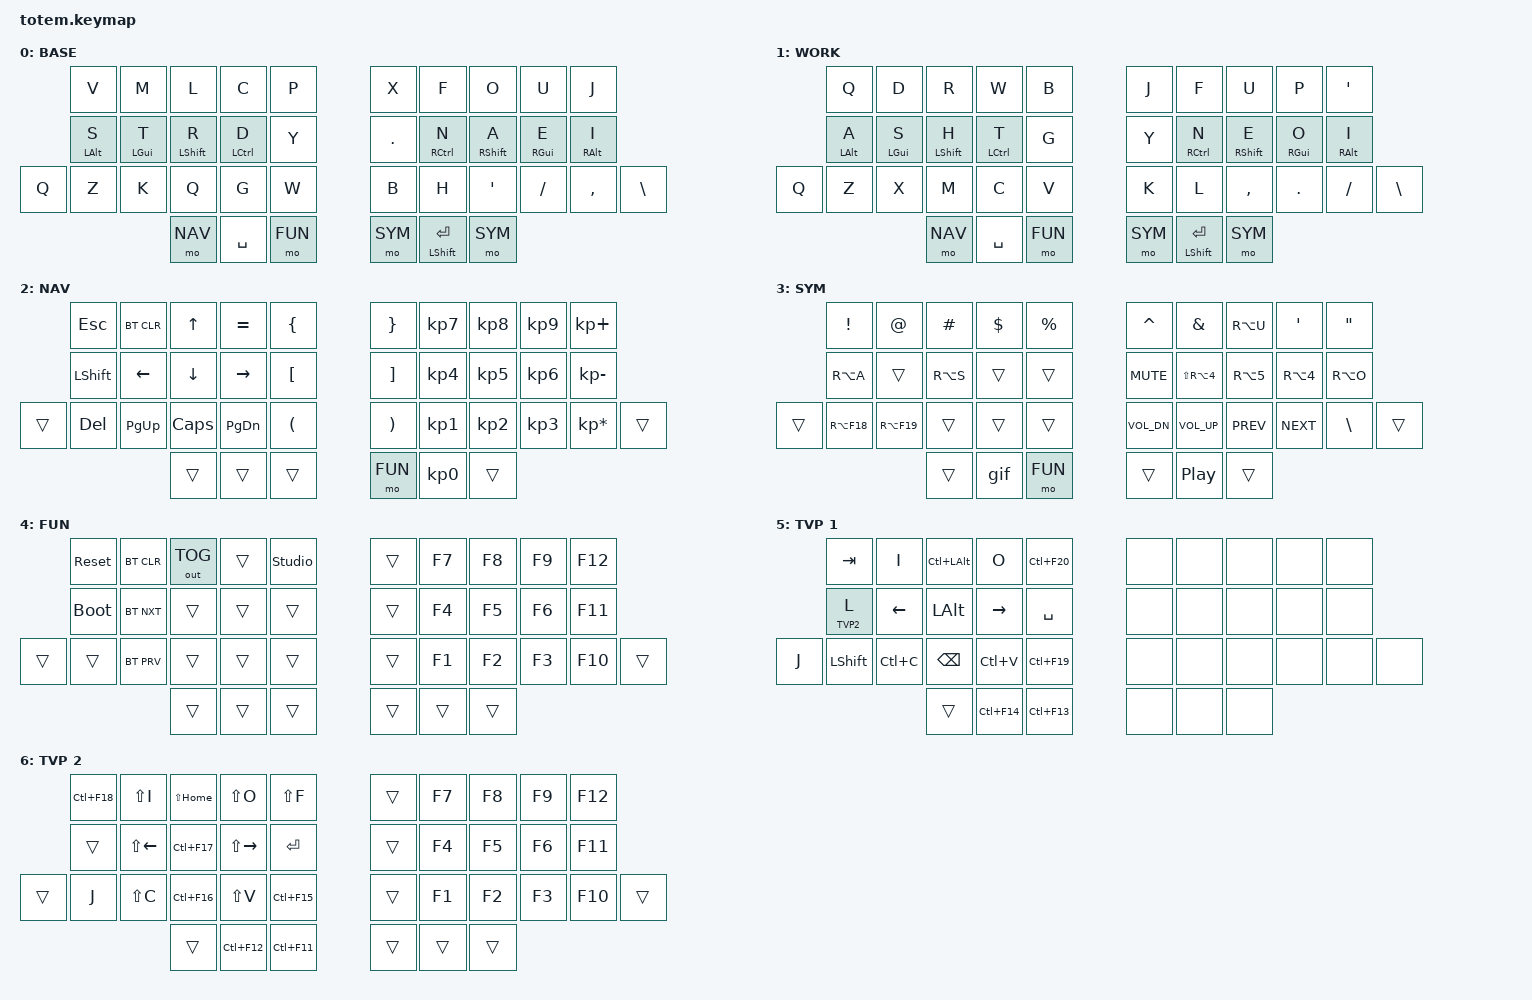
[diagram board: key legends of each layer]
//
//                                                        ▀▀▀▀▀     ▀▀▀▀▀          ▀▀█▀▀
//                                                        ▄▀▀▀▄  ▄  ▄▀▀▀▄  ▄  ▄▀▀▀▄  █  ▄▀▀▀▄
//                                                        █   █  █  █   █  █  █   █  █  █   █
//                                                         ▀▀▀   █   ▀▀▀   █   ▀▀▀   ▀   ▀▀▀
//                                                               █      ▄▄▄█▄▄▄    █   █  
//                                                               ▀      █  █  █     █▄█
//                                                             ▀▀▀▀▀    █  █  █      ▀
//                                                                      ▀  ▀  ▀
//
// ▄▄▄▄▄▄▄▄▄▄▄▄▄▄▄▄▄▄▄▄▄▄▄▄▄▄▄▄▄▄▄▄▄▄▄▄▄▄▄▄▄▄▄▄▄▄▄▄▄▄▄▄▄▄▄▄▄▄▄▄▄▄▄▄▄▄▄▄▄▄▄▄▄▄▄▄▄▄▄▄▄▄▄▄▄▄▄▄▄▄▄▄▄▄▄▄▄▄▄▄▄▄▄▄▄▄▄▄▄▄▄▄▄▄▄▄▄▄▄▄▄▄▄▄▄▄▄▄▄▄▄▄▄▄▄▄▄▄▄▄▄▄▄▄▄▄▄▄▄
       

#include <behaviors.dtsi>
#include <dt-bindings/zmk/keys.h>
#include <dt-bindings/zmk/bt.h>
#include <dt-bindings/zmk/outputs.h>

#define BASE 0
#define WORK 1
#define NAV  2
#define SYM  3
#define FUN  4
#define TVP1 5
#define TVP2 6

&mt {
  quick-tap-ms = <100>;
  global-quick-tap;
  flavor = "tap-preferred";
  tapping-term-ms = <170>;
};

/ {
     combos {
            compatible = "zmk,combos";
            combo_esc {
                timeout-ms = <50>;
                key-positions = <23 24>;
                bindings = <&kp ESC>;
            };
            combo_tvp {
                timeout-ms = <100>;
                key-positions = <11 12 13>;
                bindings = <&tog TVP1>;
            };
    };

    macros {
        gif: gif {
            label = "giphy";
            compatible = "zmk,behavior-macro";
            #binding-cells = <0>;
            bindings
                = <&macro_press &kp LSHFT>
                , <&macro_tap &kp N2>
                , <&macro_release &kp LSHFT>
                , <&macro_tap &kp G &kp I &kp F>
                ;
        };
    };

        keymap {
                compatible = "zmk,keymap";
// ▄▄▄▄▄▄▄▄▄▄▄▄▄▄▄▄▄▄▄▄▄▄▄▄▄▄▄▄▄▄▄▄▄▄▄▄▄▄▄▄▄▄▄▄▄▄▄▄▄▄▄▄▄▄▄▄▄▄▄▄▄▄▄▄▄▄▄▄▄▄▄▄▄▄▄▄▄▄▄▄▄▄▄▄▄▄▄▄▄▄▄▄▄▄▄▄▄▄▄▄▄▄▄▄▄▄▄▄▄▄▄▄▄▄▄▄▄▄▄▄▄▄▄▄▄▄▄▄▄▄▄▄▄▄▄▄▄▄▄▄▄▄▄▄▄▄▄▄▄

                base_layer {
// ┏━━━━━━━━━━━━━━━━━━━━━━━━━━━━━━━━━━━━━━━┓
label= "BASE"                              ;
// ┗━━━━━━━━━━━━━━━━━━━━━━━━━━━━━━━━━━━━━━━┛
//             ┏━━━━━━━━━━━┳━━━━━━━━━━━┳━━━━━━━━━━━┳━━━━━━━━━━━┳━━━━━━━━━━━┓   ┏━━━━━━━━━━━┳━━━━━━━━━━━┳━━━━━━━━━━━┳━━━━━━━━━━━┳━━━━━━━━━━━┓
//             ┃     V     ┃     M     ┃     L     ┃     C     ┃     P     ┃   ┃     X     ┃     F     ┃     O     ┃     U     ┃     J     ┃
//             ┣━━━━━━━━━━━╋━━━━━━━━━━━╋━━━━━━━━━━━╋━━━━━━━━━━━╋━━━━━━━━━━━┫   ┣━━━━━━━━━━━╋━━━━━━━━━━━╋━━━━━━━━━━━╋━━━━━━━━━━━╋━━━━━━━━━━━┫
//             ┃     S     ┃     T     ┃     R     ┃     D     ┃     Y     ┃   ┃     .     ┃     N     ┃     A     ┃     E     ┃     I     ┃
// ┏━━━━━━━━━━━╋━━━━━━━━━━━╋━━━━━━━━━━━╋━━━━━━━━━━━╋━━━━━━━━━━━╋━━━━━━━━━━━┫   ┣━━━━━━━━━━━╋━━━━━━━━━━━╋━━━━━━━━━━━╋━━━━━━━━━━━╋━━━━━━━━━━━╋━━━━━━━━━━━┓
// ┃     Q     ┃     Z     ┃     K     ┃     Q     ┃     G     ┃     W     ┃   ┃     B     ┃     H     ┃     '     ┃     /     ┃     ,     ┃     \     ┃
// ┗━━━━━━━━━━━┻━━━━━━━━━━━┻━━━━━━━━━━━╋━━━━━━━━━━━╋━━━━━━━━━━━╋━━━━━━━━━━━┫   ┣━━━━━━━━━━━╋━━━━━━━━━━━╋━━━━━━━━━━━╋━━━━━━━━━━━┻━━━━━━━━━━━┻━━━━━━━━━━━┛
//                                     ┃    NAV    ┃    SPC    ┃    FUN    ┃   ┃    SYM    ┃SHIFT/ENTER┃    SYM    ┃
//                                     ┗━━━━━━━━━━━┻━━━━━━━━━━━┻━━━━━━━━━━━┛   ┗━━━━━━━━━━━┻━━━━━━━━━━━┻━━━━━━━━━━━┛
 bindings = <
// ╷           ╷           ╷           ╷           ╷           ╷           ╷   ╷           ╷           ╷           ╷           ╷           ╷           ╷

                &kp V       &kp M       &kp L       &kp C       &kp P           &kp X       &kp F       &kp O       &kp U       &kp J
                &mt LALT S  &mt LGUI T  &mt LSHFT R &mt LCTRL D &kp Y           &kp DOT     &mt RCTRL N &mt RSHFT A &mt RGUI E  &mt RALT I
    &kp Q       &kp Z       &kp K       &kp Q       &kp G       &kp W           &kp B       &kp H       &kp APOS    &kp FSLH    &kp COMMA    &kp BSLH
                                        &mo NAV     &kp SPACE   &mo FUN         &mo SYM     &mt LSHFT ENTER   &mo SYM
                        >;
                };

// ▄▄▄▄▄▄▄▄▄▄▄▄▄▄▄▄▄▄▄▄▄▄▄▄▄▄▄▄▄▄▄▄▄▄▄▄▄▄▄▄▄▄▄▄▄▄▄▄▄▄▄▄▄▄▄▄▄▄▄▄▄▄▄▄▄▄▄▄▄▄▄▄▄▄▄▄▄▄▄▄▄▄▄▄▄▄▄▄▄▄▄▄▄▄▄▄▄▄▄▄▄▄▄▄▄▄▄▄▄▄▄▄▄▄▄▄▄▄▄▄▄▄▄▄▄▄▄▄▄▄▄▄▄▄▄▄▄▄▄▄▄▄▄▄▄▄▄▄▄

                work_layer {
// ┏━━━━━━━━━━━━━━━━━━━━━━━━━━━━━━━━━━━━━━━┓
label= "WORK"                              ;
// ┗━━━━━━━━━━━━━━━━━━━━━━━━━━━━━━━━━━━━━━━┛
//             ┏━━━━━━━━━━━┳━━━━━━━━━━━┳━━━━━━━━━━━┳━━━━━━━━━━━┳━━━━━━━━━━━┓   ┏━━━━━━━━━━━┳━━━━━━━━━━━┳━━━━━━━━━━━┳━━━━━━━━━━━┳━━━━━━━━━━━┓
//             ┃     Q     ┃     D     ┃     R     ┃     W     ┃     B     ┃   ┃     J     ┃     F     ┃     U     ┃     P     ┃     '     ┃
//             ┣━━━━━━━━━━━╋━━━━━━━━━━━╋━━━━━━━━━━━╋━━━━━━━━━━━╋━━━━━━━━━━━┫   ┣━━━━━━━━━━━╋━━━━━━━━━━━╋━━━━━━━━━━━╋━━━━━━━━━━━╋━━━━━━━━━━━┫
//             ┃     A     ┃     S     ┃     H     ┃     T     ┃     G     ┃   ┃     Y     ┃     N     ┃     E     ┃     O     ┃     I     ┃
// ┏━━━━━━━━━━━╋━━━━━━━━━━━╋━━━━━━━━━━━╋━━━━━━━━━━━╋━━━━━━━━━━━╋━━━━━━━━━━━┫   ┣━━━━━━━━━━━╋━━━━━━━━━━━╋━━━━━━━━━━━╋━━━━━━━━━━━╋━━━━━━━━━━━╋━━━━━━━━━━━┓
// ┃     Q     ┃     Z     ┃     X     ┃     M     ┃     C     ┃     V     ┃   ┃     K     ┃     L     ┃     ,     ┃     .     ┃     /     ┃     \     ┃
// ┗━━━━━━━━━━━┻━━━━━━━━━━━┻━━━━━━━━━━━╋━━━━━━━━━━━╋━━━━━━━━━━━╋━━━━━━━━━━━┫   ┣━━━━━━━━━━━╋━━━━━━━━━━━╋━━━━━━━━━━━╋━━━━━━━━━━━┻━━━━━━━━━━━┻━━━━━━━━━━━┛
//                                     ┃    NAV    ┃    SPC    ┃    FUN    ┃   ┃    NUM    ┃SHIFT/ENTER┃    SYM    ┃
//                                     ┗━━━━━━━━━━━┻━━━━━━━━━━━┻━━━━━━━━━━━┛   ┗━━━━━━━━━━━┻━━━━━━━━━━━┻━━━━━━━━━━━┛
 bindings = <
// ╷           ╷           ╷           ╷           ╷           ╷           ╷   ╷           ╷           ╷           ╷           ╷           ╷           ╷

                &kp Q       &kp D       &kp R       &kp W       &kp B           &kp J       &kp F       &kp U       &kp P       &kp APOS
                &mt LALT A  &mt LGUI S  &mt LSHFT H &mt LCTRL T &kp G           &kp Y       &mt RCTRL N &mt RSHFT E &mt RGUI O  &mt RALT I
    &kp Q       &kp Z       &kp X       &kp M       &kp C       &kp V           &kp K       &kp L       &kp COMMA   &kp DOT     &kp FSLH    &kp BSLH
                                        &mo NAV     &kp SPACE   &mo FUN         &mo SYM     &mt LSHIFT ENTER  &mo SYM
                        >;
                };

// ▄▄▄▄▄▄▄▄▄▄▄▄▄▄▄▄▄▄▄▄▄▄▄▄▄▄▄▄▄▄▄▄▄▄▄▄▄▄▄▄▄▄▄▄▄▄▄▄▄▄▄▄▄▄▄▄▄▄▄▄▄▄▄▄▄▄▄▄▄▄▄▄▄▄▄▄▄▄▄▄▄▄▄▄▄▄▄▄▄▄▄▄▄▄▄▄▄▄▄▄▄▄▄▄▄▄▄▄▄▄▄▄▄▄▄▄▄▄▄▄▄▄▄▄▄▄▄▄▄▄▄▄▄▄▄▄▄▄▄▄▄▄▄▄▄▄▄▄▄


                nav_layer {
// ┏━━━━━━━━━━━━━━━━━━━━━━━━━━━━━━━━━━━━━━━┓
label= "NAV"                               ;
// ┗━━━━━━━━━━━━━━━━━━━━━━━━━━━━━━━━━━━━━━━┛
//             ┏━━━━━━━━━━━┳━━━━━━━━━━━┳━━━━━━━━━━━┳━━━━━━━━━━━┳━━━━━━━━━━━┓   ┏━━━━━━━━━━━┳━━━━━━━━━━━┳━━━━━━━━━━━┳━━━━━━━━━━━┳━━━━━━━━━━━┓
//             ┃    ESC    ┃   BT_CLR  ┃     UP    ┃     =     ┃     {     ┃   ┃     }     ┃     7     ┃     8     ┃     9     ┃     +     ┃
//             ┣━━━━━━━━━━━╋━━━━━━━━━━━╋━━━━━━━━━━━╋━━━━━━━━━━━╋━━━━━━━━━━━┫   ┣━━━━━━━━━━━╋━━━━━━━━━━━╋━━━━━━━━━━━╋━━━━━━━━━━━╋━━━━━━━━━━━┫
//             ┃   SHIFT   ┃   LEFT    ┃    DOWN   ┃   RIGHT   ┃     [     ┃   ┃     ]     ┃     4     ┃     5     ┃     6     ┃     -     ┃
// ┏━━━━━━━━━━━╋━━━━━━━━━━━╋━━━━━━━━━━━╋━━━━━━━━━━━╋━━━━━━━━━━━╋━━━━━━━━━━━┫   ┣━━━━━━━━━━━╋━━━━━━━━━━━╋━━━━━━━━━━━╋━━━━━━━━━━━╋━━━━━━━━━━━╋━━━━━━━━━━━┓
// ┃           ┃    DEL    ┃   P UP    ┃  C LOCK   ┃  P DOWN   ┃     (     ┃   ┃     )     ┃     1     ┃     2     ┃     3     ┃     *     ┃           ┃
// ┗━━━━━━━━━━━┻━━━━━━━━━━━┻━━━━━━━━━━━╋━━━━━━━━━━━╋━━━━━━━━━━━╋━━━━━━━━━━━┫   ┣━━━━━━━━━━━╋━━━━━━━━━━━╋━━━━━━━━━━━╋━━━━━━━━━━━┻━━━━━━━━━━━┻━━━━━━━━━━━┛
//                                     ┃    NAV    ┃    SPC    ┃    FUN    ┃   ┃    NUM    ┃     0     ┃           ┃
//                                     ┗━━━━━━━━━━━┻━━━━━━━━━━━┻━━━━━━━━━━━┛   ┗━━━━━━━━━━━┻━━━━━━━━━━━┻━━━━━━━━━━━┛
 bindings = <
// ╷           ╷           ╷           ╷           ╷           ╷           ╷   ╷           ╷           ╷           ╷           ╷           ╷           ╷

                &kp ESC     &bt BT_CLR  &kp UP      &kp EQUAL   &kp LBRC        &kp RBRC    &kp KP_N7   &kp KP_N8   &kp KP_N9   &kp KP_PLUS
                &kp LSHFT   &kp LEFT    &kp DOWN    &kp RIGHT   &kp LBKT        &kp RBKT    &kp KP_N4   &kp KP_N5   &kp KP_N6   &kp KP_MINUS
    &trans      &kp DEL     &kp PG_UP   &kp CAPS    &kp PG_DN   &kp LPAR        &kp RPAR    &kp KP_N1   &kp KP_N2   &kp KP_N3   &kp KP_MULTIPLY &trans      
                                        &trans      &trans      &trans          &mo FUN     &kp KP_N0   &trans      
                        >;
                };

// ▄▄▄▄▄▄▄▄▄▄▄▄▄▄▄▄▄▄▄▄▄▄▄▄▄▄▄▄▄▄▄▄▄▄▄▄▄▄▄▄▄▄▄▄▄▄▄▄▄▄▄▄▄▄▄▄▄▄▄▄▄▄▄▄▄▄▄▄▄▄▄▄▄▄▄▄▄▄▄▄▄▄▄▄▄▄▄▄▄▄▄▄▄▄▄▄▄▄▄▄▄▄▄▄▄▄▄▄▄▄▄▄▄▄▄▄▄▄▄▄▄▄▄▄▄▄▄▄▄▄▄▄▄▄▄▄▄▄▄▄▄▄▄▄▄▄▄▄▄


                sim_layer {
// ┏━━━━━━━━━━━━━━━━━━━━━━━━━━━━━━━━━━━━━━━┓
label= "SYM"                               ;
// ┗━━━━━━━━━━━━━━━━━━━━━━━━━━━━━━━━━━━━━━━┛
//             ┏━━━━━━━━━━━┳━━━━━━━━━━━┳━━━━━━━━━━━┳━━━━━━━━━━━┳━━━━━━━━━━━┓   ┏━━━━━━━━━━━┳━━━━━━━━━━━┳━━━━━━━━━━━┳━━━━━━━━━━━┳━━━━━━━━━━━┓
//             ┃     !     ┃     @     ┃     #     ┃     $     ┃     %     ┃   ┃     ˆ     ┃     &     ┃     Ü     ┃     '     ┃     "     ┃
//             ┣━━━━━━━━━━━╋━━━━━━━━━━━╋━━━━━━━━━━━╋━━━━━━━━━━━╋━━━━━━━━━━━┫   ┣━━━━━━━━━━━╋━━━━━━━━━━━╋━━━━━━━━━━━╋━━━━━━━━━━━╋━━━━━━━━━━━┫
//             ┃     Ä     ┃           ┃    SZ     ┃           ┃           ┃   ┃   MUTE    ┃   YEN     ┃   EURO    ┃  POUND    ┃     Ö     ┃
// ┏━━━━━━━━━━━╋━━━━━━━━━━━╋━━━━━━━━━━━╋━━━━━━━━━━━╋━━━━━━━━━━━╋━━━━━━━━━━━┫   ┣━━━━━━━━━━━╋━━━━━━━━━━━╋━━━━━━━━━━━╋━━━━━━━━━━━╋━━━━━━━━━━━╋━━━━━━━━━━━┓
// ┃           ┃  EMAIL1   ┃  EMAIL2   ┃           ┃           ┃           ┃   ┃   VOL-    ┃   VOL+    ┃   LAST    ┃   NEXT    ┃     \     ┃           ┃
// ┗━━━━━━━━━━━┻━━━━━━━━━━━┻━━━━━━━━━━━╋━━━━━━━━━━━╋━━━━━━━━━━━╋━━━━━━━━━━━┫   ┣━━━━━━━━━━━╋━━━━━━━━━━━╋━━━━━━━━━━━╋━━━━━━━━━━━┻━━━━━━━━━━━┻━━━━━━━━━━━┛
//                                     ┃           ┃    GIF    ┃    FUN    ┃   ┃           ┃           ┃           ┃
//                                     ┗━━━━━━━━━━━┻━━━━━━━━━━━┻━━━━━━━━━━━┛   ┗━━━━━━━━━━━┻━━━━━━━━━━━┻━━━━━━━━━━━┛
 bindings = <
// ╷           ╷           ╷           ╷           ╷           ╷           ╷   ╷           ╷           ╷           ╷           ╷           ╷           ╷

                &kp EXCL    &kp AT      &kp HASH    &kp DLLR    &kp PRCNT       &kp CARET   &kp AMPS    &kp RA(U)   &kp SQT     &kp DQT       
                &kp RA(A)   &trans      &kp RA(S)   &trans      &trans          &kp C_MUTE  &kp LS(RA(N4)) &kp RA(N5) &kp RA(N4)   &kp RA(O) 
    &trans      &kp RA(F18) &kp RA(F19) &trans      &trans      &trans          &kp C_VOL_DN &kp C_VOL_UP &kp C_PREV &kp C_NEXT  &kp BSLH   &trans         
                                        &trans      &gif        &mo FUN         &trans      &kp C_PP   &trans      
                        >;
                };

// ▄▄▄▄▄▄▄▄▄▄▄▄▄▄▄▄▄▄▄▄▄▄▄▄▄▄▄▄▄▄▄▄▄▄▄▄▄▄▄▄▄▄▄▄▄▄▄▄▄▄▄▄▄▄▄▄▄▄▄▄▄▄▄▄▄▄▄▄▄▄▄▄▄▄▄▄▄▄▄▄▄▄▄▄▄▄▄▄▄▄▄▄▄▄▄▄▄▄▄▄▄▄▄▄▄▄▄▄▄▄▄▄▄▄▄▄▄▄▄▄▄▄▄▄▄▄▄▄▄▄▄▄▄▄▄▄▄▄▄▄▄▄▄▄▄▄▄▄▄


                fun_layer {
// ┏━━━━━━━━━━━━━━━━━━━━━━━━━━━━━━━━━━━━━━━┓
label= "FUN"                               ;
// ┗━━━━━━━━━━━━━━━━━━━━━━━━━━━━━━━━━━━━━━━┛
//             ┏━━━━━━━━━━━┳━━━━━━━━━━━┳━━━━━━━━━━━┳━━━━━━━━━━━┳━━━━━━━━━━━┓   ┏━━━━━━━━━━━┳━━━━━━━━━━━┳━━━━━━━━━━━┳━━━━━━━━━━━┳━━━━━━━━━━━┓
//             ┃   RESET   ┃ BT CLEAR  ┃  OUT TOG  ┃           ┃ZMK STUDIO ┃   ┃           ┃    F7     ┃    F8     ┃    F9     ┃    F12    ┃
//             ┣━━━━━━━━━━━╋━━━━━━━━━━━╋━━━━━━━━━━━╋━━━━━━━━━━━╋━━━━━━━━━━━┫   ┣━━━━━━━━━━━╋━━━━━━━━━━━╋━━━━━━━━━━━╋━━━━━━━━━━━╋━━━━━━━━━━━┫
//             ┃ BOOTLOAD  ┃ BT NEXT   ┃           ┃           ┃           ┃   ┃           ┃    F4     ┃    F5     ┃    F6     ┃    F11    ┃
// ┏━━━━━━━━━━━╋━━━━━━━━━━━╋━━━━━━━━━━━╋━━━━━━━━━━━╋━━━━━━━━━━━╋━━━━━━━━━━━┫   ┣━━━━━━━━━━━╋━━━━━━━━━━━╋━━━━━━━━━━━╋━━━━━━━━━━━╋━━━━━━━━━━━╋━━━━━━━━━━━┓
// ┃           ┃           ┃ BT PREV   ┃           ┃           ┃           ┃   ┃           ┃    F1     ┃    F2     ┃    F3     ┃    F10    ┃           ┃
// ┗━━━━━━━━━━━┻━━━━━━━━━━━┻━━━━━━━━━━━╋━━━━━━━━━━━╋━━━━━━━━━━━╋━━━━━━━━━━━┫   ┣━━━━━━━━━━━╋━━━━━━━━━━━╋━━━━━━━━━━━╋━━━━━━━━━━━┻━━━━━━━━━━━┻━━━━━━━━━━━┛
//                                     ┃           ┃           ┃           ┃   ┃           ┃           ┃           ┃
//                                     ┗━━━━━━━━━━━┻━━━━━━━━━━━┻━━━━━━━━━━━┛   ┗━━━━━━━━━━━┻━━━━━━━━━━━┻━━━━━━━━━━━┛
 bindings = <
// ╷           ╷           ╷           ╷           ╷           ╷           ╷   ╷           ╷           ╷           ╷           ╷           ╷           ╷

                &sys_reset  &bt BT_CLR &out OUT_TOG &trans      &studio_unlock  &trans      &kp F7      &kp F8      &kp F9      &kp F12
                &bootloader &bt BT_NXT  &trans      &trans      &trans          &trans      &kp F4      &kp F5      &kp F6      &kp F11  
    &trans      &trans      &bt BT_PRV  &trans      &trans      &trans          &trans      &kp F1      &kp F2      &kp F3      &kp F10     &trans         
                                        &trans      &trans      &trans          &trans      &trans      &trans      
                        >;
                };

// ▄▄▄▄▄▄▄▄▄▄▄▄▄▄▄▄▄▄▄▄▄▄▄▄▄▄▄▄▄▄▄▄▄▄▄▄▄▄▄▄▄▄▄▄▄▄▄▄▄▄▄▄▄▄▄▄▄▄▄▄▄▄▄▄▄▄▄▄▄▄▄▄▄▄▄▄▄▄▄▄▄▄▄▄▄▄▄▄▄▄▄▄▄▄▄▄▄▄▄▄▄▄▄▄▄▄▄▄▄▄▄▄▄▄▄▄▄▄▄▄▄▄▄▄▄▄▄▄▄▄▄▄▄▄▄▄▄▄▄▄▄▄▄▄▄▄▄▄▄


                tvp1_layer {
// ┏━━━━━━━━━━━━━━━━━━━━━━━━━━━━━━━━━━━━━━━┓
label= "TVP 1"                             ;
// ┗━━━━━━━━━━━━━━━━━━━━━━━━━━━━━━━━━━━━━━━┛
//             ┏━━━━━━━━━━━┳━━━━━━━━━━━┳━━━━━━━━━━━┳━━━━━━━━━━━┳━━━━━━━━━━━┓   ┏━━━━━━━━━━━┳━━━━━━━━━━━┳━━━━━━━━━━━┳━━━━━━━━━━━┳━━━━━━━━━━━┓
//             ┃ NEXT FILE ┃ MARK IN   ┃ ROTATE    ┃ MARK OUT  ┃ SHOW SNAP ┃   ┃           ┃           ┃           ┃           ┃           ┃
//             ┣━━━━━━━━━━━╋━━━━━━━━━━━╋━━━━━━━━━━━╋━━━━━━━━━━━╋━━━━━━━━━━━┫   ┣━━━━━━━━━━━╋━━━━━━━━━━━╋━━━━━━━━━━━╋━━━━━━━━━━━╋━━━━━━━━━━━┫
//             ┃ TVP II    ┃ LEFT      ┃ PAN       ┃ RIGHT     ┃ PLAY/FLIP ┃   ┃           ┃           ┃           ┃           ┃           ┃
// ┏━━━━━━━━━━━╋━━━━━━━━━━━╋━━━━━━━━━━━╋━━━━━━━━━━━╋━━━━━━━━━━━╋━━━━━━━━━━━┫   ┣━━━━━━━━━━━╋━━━━━━━━━━━╋━━━━━━━━━━━╋━━━━━━━━━━━╋━━━━━━━━━━━╋━━━━━━━━━━━┓
// ┃ FULLSCR   ┃ SHIFT     ┃ COPY      ┃ DELETE    ┃ PASTE     ┃ IMG MARK  ┃   ┃           ┃           ┃           ┃           ┃           ┃           ┃
// ┗━━━━━━━━━━━┻━━━━━━━━━━━┻━━━━━━━━━━━╋━━━━━━━━━━━╋━━━━━━━━━━━╋━━━━━━━━━━━┫   ┣━━━━━━━━━━━╋━━━━━━━━━━━╋━━━━━━━━━━━╋━━━━━━━━━━━┻━━━━━━━━━━━┻━━━━━━━━━━━┛
//                                     ┃           ┃ UNDO/SAVE ┃  SEL/MOV  ┃   ┃           ┃           ┃           ┃
//                                     ┗━━━━━━━━━━━┻━━━━━━━━━━━┻━━━━━━━━━━━┛   ┗━━━━━━━━━━━┻━━━━━━━━━━━┻━━━━━━━━━━━┛
 bindings = <
// ╷           ╷           ╷           ╷           ╷           ╷           ╷   ╷           ╷           ╷           ╷           ╷           ╷           ╷

                &kp TAB     &kp I       &kp LC(LALT) &kp O      &kp LC(F20)     &none       &none       &none       &none       &none
                &lt TVP2 L  &kp LEFT    &kp LALT    &kp RIGHT   &kp SPACE       &none       &none       &none       &none       &none
    &kp J       &kp LSHFT   &kp LC(C)   &kp BSPC    &kp LC(V)   &kp LC(F19)     &none       &none       &none       &none       &none       &none        
                                        &trans      &kp LC(F14) &kp LC(F13)     &none       &none       &none    
                        >;
                };

// ▄▄▄▄▄▄▄▄▄▄▄▄▄▄▄▄▄▄▄▄▄▄▄▄▄▄▄▄▄▄▄▄▄▄▄▄▄▄▄▄▄▄▄▄▄▄▄▄▄▄▄▄▄▄▄▄▄▄▄▄▄▄▄▄▄▄▄▄▄▄▄▄▄▄▄▄▄▄▄▄▄▄▄▄▄▄▄▄▄▄▄▄▄▄▄▄▄▄▄▄▄▄▄▄▄▄▄▄▄▄▄▄▄▄▄▄▄▄▄▄▄▄▄▄▄▄▄▄▄▄▄▄▄▄▄▄▄▄▄▄▄▄▄▄▄▄▄▄▄


                tvp2_layer {
// ┏━━━━━━━━━━━━━━━━━━━━━━━━━━━━━━━━━━━━━━━┓
label= "TVP 2"                             ;
// ┗━━━━━━━━━━━━━━━━━━━━━━━━━━━━━━━━━━━━━━━┛
//             ┏━━━━━━━━━━━┳━━━━━━━━━━━┳━━━━━━━━━━━┳━━━━━━━━━━━┳━━━━━━━━━━━┓   ┏━━━━━━━━━━━┳━━━━━━━━━━━┳━━━━━━━━━━━┳━━━━━━━━━━━┳━━━━━━━━━━━┓
//             ┃ SOLO      ┃ TOGGLE IN ┃ RESET ROT ┃ TOGGLE OUT┃ TAKE SNAP ┃   ┃           ┃           ┃           ┃           ┃           ┃
//             ┣━━━━━━━━━━━╋━━━━━━━━━━━╋━━━━━━━━━━━╋━━━━━━━━━━━╋━━━━━━━━━━━┫   ┣━━━━━━━━━━━╋━━━━━━━━━━━╋━━━━━━━━━━━╋━━━━━━━━━━━╋━━━━━━━━━━━┫
//             ┃ ---       ┃ LAST KEY  ┃ NEW KEY   ┃ NEXT KEY  ┃ ENTER     ┃   ┃           ┃           ┃           ┃           ┃           ┃
// ┏━━━━━━━━━━━╋━━━━━━━━━━━╋━━━━━━━━━━━╋━━━━━━━━━━━╋━━━━━━━━━━━╋━━━━━━━━━━━┫   ┣━━━━━━━━━━━╋━━━━━━━━━━━╋━━━━━━━━━━━╋━━━━━━━━━━━╋━━━━━━━━━━━╋━━━━━━━━━━━┓
// ┃           ┃ FULLSCR   ┃ CPY2BRUSH ┃ DEL HEAD  ┃ PSTinPLACE┃ BOOK MARK ┃   ┃           ┃           ┃           ┃           ┃           ┃           ┃
// ┗━━━━━━━━━━━┻━━━━━━━━━━━┻━━━━━━━━━━━╋━━━━━━━━━━━╋━━━━━━━━━━━╋━━━━━━━━━━━┫   ┣━━━━━━━━━━━╋━━━━━━━━━━━╋━━━━━━━━━━━╋━━━━━━━━━━━┻━━━━━━━━━━━┻━━━━━━━━━━━┛
//                                     ┃           ┃ REDO/SAV1 ┃TRANS/WARP ┃   ┃           ┃           ┃           ┃
//                                     ┗━━━━━━━━━━━┻━━━━━━━━━━━┻━━━━━━━━━━━┛   ┗━━━━━━━━━━━┻━━━━━━━━━━━┻━━━━━━━━━━━┛
 bindings = <
// ╷           ╷           ╷           ╷           ╷           ╷           ╷   ╷           ╷           ╷           ╷           ╷           ╷           ╷

                &kp LC(F18) &kp LS(I)  &kp LS(HOME) &kp LS(O)   &kp LS(F)       &trans      &kp F7      &kp F8      &kp F9      &kp F12
                &trans      &kp LS(LEFT) &kp LC(F17) &kp LS(RIGHT) &kp RET      &trans      &kp F4      &kp F5      &kp F6      &kp F11  
    &trans      &kp J       &kp LS(C)   &kp LC(F16) &kp LS(V)   &kp LC(F15)     &trans      &kp F1      &kp F2      &kp F3      &kp F10     &trans         
                                        &trans      &kp LC(F12) &kp LC(F11)     &trans      &trans      &trans      
                        >;
                };
        };
};
